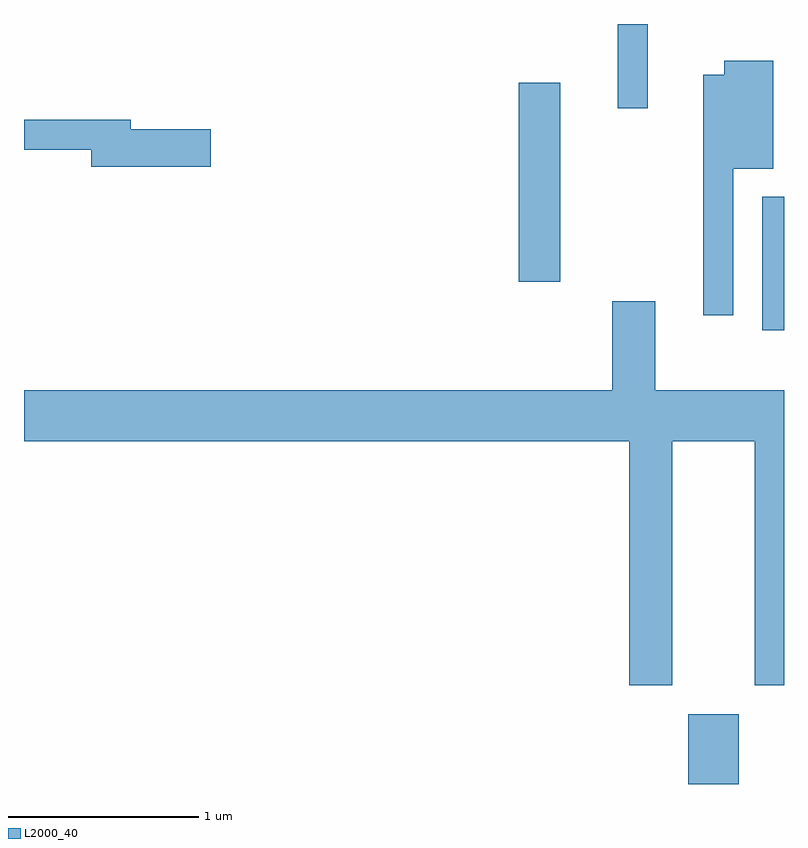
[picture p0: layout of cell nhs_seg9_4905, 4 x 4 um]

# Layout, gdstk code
import gdstk
lib = gdstk.Library(unit=1e-6, precision=1e-09)
def R(c, l, rs):  # rectangles x0, y0, x1, y1
    for r in rs: c.add(gdstk.rectangle(r[:2], r[2:], *l))
def P(c, l, *ps):  # polygons
    for p in ps: c.add(gdstk.Polygon(p, *l))
L2000_40 = (2000, 40)

nhs_seg9_4905 = lib.new_cell('nhs_seg9_4905')
R(nhs_seg9_4905, L2000_40, [(333.106,2014.432,333.374,2014.799), (333.496,2016.821,333.611,2017.523), (332.216,2017.076,332.434,2018.124), (332.736,2017.988,332.894,2018.432)])
P(nhs_seg9_4905, L2000_40, [(333.344,2017.671),(333.554,2017.671),(333.554,2018.239),(333.296,2018.239),(333.296,2018.164),(333.186,2018.164),(333.186,2016.898),(333.344,2016.898)],
  [(330.594,2017.879),(330.174,2017.879),(330.174,2017.929),(329.611,2017.929),(329.611,2017.771),(329.966,2017.771),(329.966,2017.681),(330.594,2017.681)],
  [(333.024,2016.236),(333.456,2016.236),(333.456,2014.951),(333.611,2014.951),(333.611,2016.504),(332.934,2016.504),(332.934,2016.974),(332.706,2016.974),(332.706,2016.504),(329.611,2016.504),(329.611,2016.236),(332.796,2016.236),(332.796,2014.951),(333.024,2014.951)])

lib.write_gds('nhs_seg9_4905.gds')
